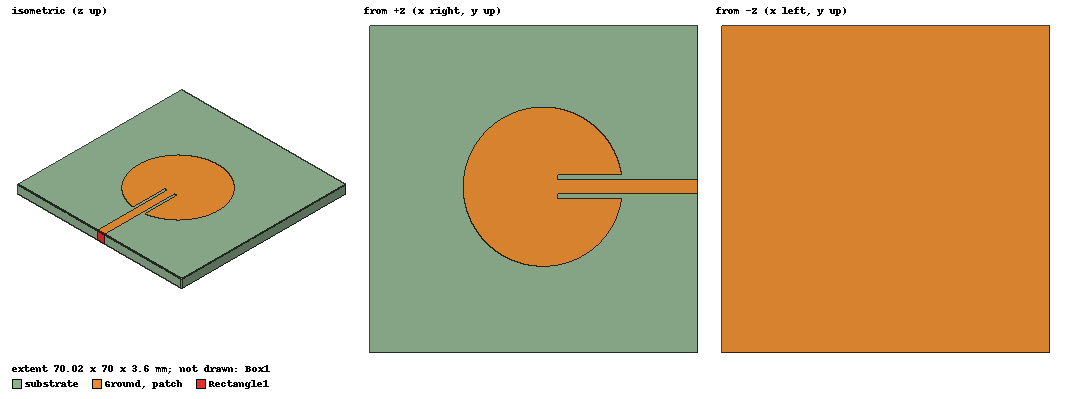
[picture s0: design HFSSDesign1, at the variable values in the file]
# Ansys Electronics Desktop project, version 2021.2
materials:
  vacuum: permittivity=1
  FR4_epoxy: permittivity=4.4 dielectric_loss_tangent=0.02
  copper: permeability=0.999991 conductivity=58000000

design HFSSDesign1 (HFSS, DrivenTerminal, model units mm)
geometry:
  Ground = rectangle(corner=(0mm, 0mm, 0mm), x_size=70mm, y_size=70mm)
  substrate [FR4_epoxy] = box(corner=(0mm, 0mm, 0mm), size=(70mm, 70mm, 3.6mm))
  patch = circle(normal=Z, centre=(37mm, 35.5mm, 3.6mm), radius=17mm)
  subtract = rectangle(corner=(40.2mm, 33mm, 3.6mm), x_size=14mm, y_size=5mm)
  patch.subtract(subtract)
  feedline = rectangle(corner=(40.12mm, 34mm, 3.6mm), x_size=29.9mm, y_size=3mm)
  patch.unite(feedline)
  Rectangle1 = rectangle(corner=(70mm, 34mm, 3.6mm), y_size=3mm, z_size=-3.6mm)
  Box1 [vacuum] = box(corner=(-10mm, -10mm, -23mm), size=(90mm, 90mm, 50mm))
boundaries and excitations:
  FiniteCond1: Finite Conductivity Objects=Ground UseMaterial Material=copper IsInternal
  FiniteCond2: Finite Conductivity Objects=patch UseMaterial Material=copper IsInternal
  Rad1: Radiation Objects=Box1
  Rectangle1_T1: Terminal port=1 Edges=Rectangle1.edge(z at corner) TerminalResistance=50ohm
  1: Lumped Port Faces=Rectangle1.face Impedance=50ohm
  reference conductors: Ground
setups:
  Setup1: HfssDriven Frequency=2.55GHz MaxDeltaS=0.02 MaximumPasses=20 MinimumPasses=1 MinimumConvergedPasses=1 PercentRefinement=30 BasisOrder=1 PortAccuracy=2
    sweep Sweep: 1GHz to 4GHz, 400 points; Type=Fast SaveFields
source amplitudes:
  1:1: 1V 0deg
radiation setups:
  Infinite Sphere1: Infinite Sphere Theta=0deg..180deg step 2deg Phi=-180deg..180deg step 2deg
  Infinite Sphere2: Infinite Sphere Theta=-180deg..180deg step 2deg Phi=0deg..180deg step 2deg
  Rectangle1: Near Rectangle  Length=20mm Width=20mm LengthSamples=41 WidthSamples=41 CoordSystem=Global
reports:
  Terminal S Parameter Plot 1: dB(St(Rectangle1_T1,Rectangle1_T1)) vs Freq on Setup1 : Sweep; markers m1 at 2.3759398GHz, m2 at 2.5112782GHz, m3 at 2.3684211GHz
  Terminal VSWR Plot 1: VSWRt(Rectangle1_T1) vs Freq on Setup1 : Sweep; markers m1 at 1GHz, m2 at 2.443609GHz, m3 at 3.2180451GHz
  Terminal Group Delay Plot 1: dB(GroupDelay(Rectangle1_T1,Rectangle1_T1)) vs Freq on Setup1 : Sweep
  Gain Plot 1: dB(GainTotal) vs Phi, Theta on Setup1 : LastAdaptive, Infinite Sphere1 [Freq=2.55GHz]
  Directivity Plot 1: dB(DirTotal) vs Phi, Theta on Setup1 : LastAdaptive, Infinite Sphere1 [Freq=2.55GHz]
